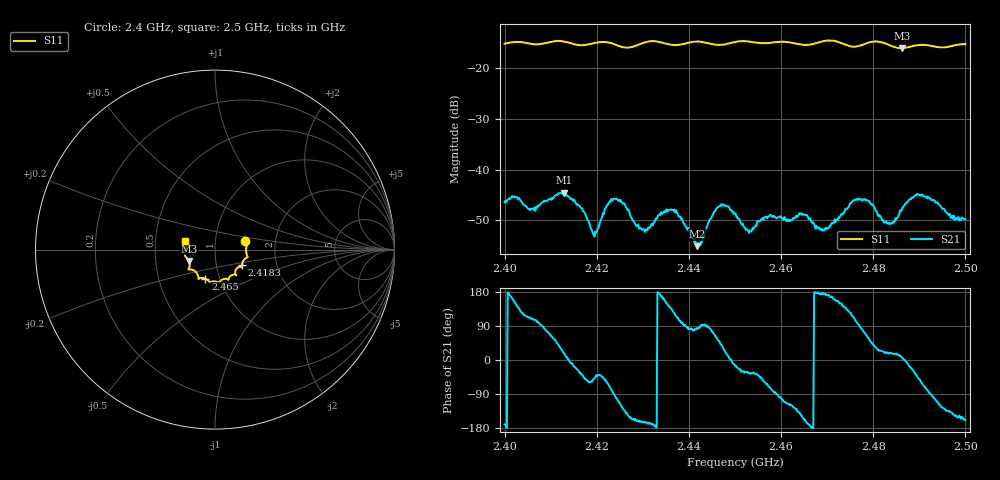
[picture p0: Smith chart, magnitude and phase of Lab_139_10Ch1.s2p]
# Hz S RI R 50
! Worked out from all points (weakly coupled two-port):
!   601 points, 2.4 GHz to 2.5 GHz, reference 50 ohm
!   highest |S21| = -44.56 dB at 2.4128 GHz (marker M1); lowest = -55.1 dB at 2.4418 GHz (marker M2)
!   lowest |S11| = -16.0 dB at 2.4862 GHz (marker M3), VSWR 1.38, Z = 37.1 - j4.82 ohm
!   |S11| at or under -10 dB: start of sweep to end of sweep
!   S12 and S22 are empty: the file has one direction only
!   S11 on the Smith chart (normalised r, x): 2.4 GHz: 1.40, +0.13; 2.4183 GHz: 1.33, -0.24; 2.465 GHz: 0.86, -0.29; 2.5 GHz: 0.71, +0.07
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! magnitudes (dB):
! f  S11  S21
! 2.4 GHz  -15.1  -46.5
! 2.4062 GHz  -15.2  -47.9
! 2.4128 GHz  -14.7  -44.6
! 2.4167 GHz  -15.4  -47.6
! 2.4183 GHz  -15.2  -50.6
! 2.4197 GHz  -15.0  -52.2
! 2.4237 GHz  -15.2  -45.8
! 2.43 GHz  -15.0  -51.9
! 2.4333 GHz  -14.7  -49.0
! 2.437 GHz  -15.4  -48.5
! 2.4418 GHz  -14.7  -55.1
! 2.4465 GHz  -15.4  -47.3
! 2.45 GHz  -14.8  -48.8
! 2.4532 GHz  -14.7  -52.0
! 2.465 GHz  -15.4  -48.9
! 2.4667 GHz  -15.2  -50.4
! 2.4698 GHz  -14.5  -51.8
! 2.4768 GHz  -15.6  -45.9
! 2.4833 GHz  -15.3  -50.7
! 2.4862 GHz  -16.0  -48.0
! 2.49 GHz  -15.4  -45.0
! 2.5 GHz  -15.2  -49.8
